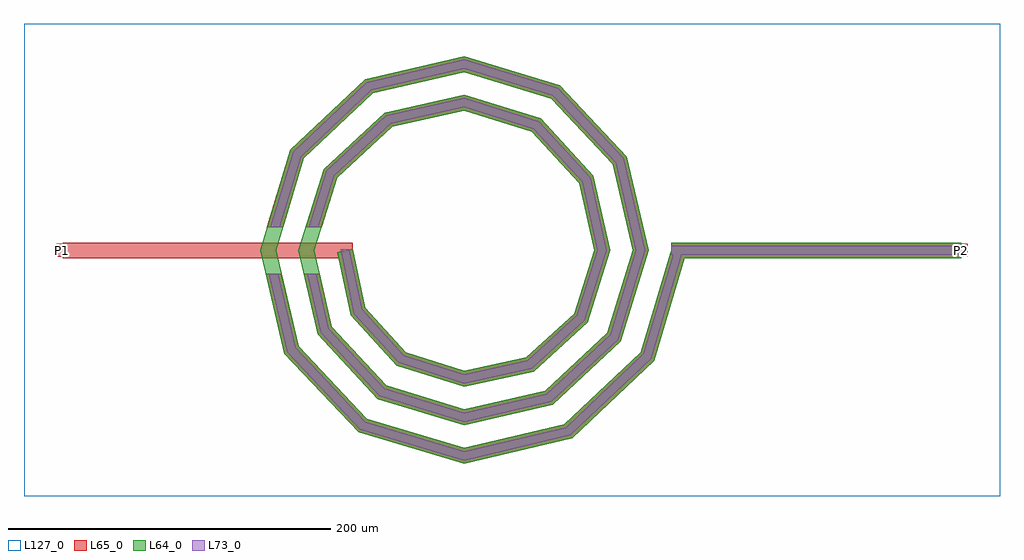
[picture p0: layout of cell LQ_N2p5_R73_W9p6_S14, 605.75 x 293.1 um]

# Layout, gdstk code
import gdstk
lib = gdstk.Library(unit=1e-6, precision=1e-09)
def R(c, l, rs):  # rectangles x0, y0, x1, y1
    for r in rs: c.add(gdstk.rectangle(r[:2], r[2:], *l))
def P(c, l, *ps):  # polygons
    for p in ps: c.add(gdstk.Polygon(p, *l))
L64_0 = (64, 0)
L65_0 = (65, 0)
L73_0 = (73, 0)
L127_0 = (127, 0)

lq_n2p5_r73_w9p6_s14 = lib.new_cell('LQ_N2p5_R73_W9p6_S14')
R(lq_n2p5_r73_w9p6_s14, L64_0, [(128.715,-4.8,308.716,4.8)])
P(lq_n2p5_r73_w9p6_s14, L64_0, [(-61.248,-35.642),(-36.221,-63.21),(0.231,-74.841),(38.61,-66.424),(68.369,-39.219),(80.808,0.215),(71.6,41.581),(42.215,73.53),(0.201,86.776),(-44.553,76.774),(-78.691,45.21),(-92.743,0.189),(-81.948,-47.526),(-48.204,-83.854),(0.178,-98.71),(50.501,-87.121),(89.017,-51.196),(104.678,0.168),(92.294,53.476),(54.187,94.18),(0.159,110.645),(-56.453,97.466),(-99.344,57.178),(-116.613,0.152),(-102.638,-59.43),(-60.168,-104.508),(0.145,-122.58),(62.408,-107.809),(109.673,-63.158),(128.916,1.372),(138.115,-1.372),(118.137,-68.368),(67.129,-116.556),(0.145,-132.515),(-65.39,-112.965),(-111.391,-64.139),(-126.547,0.152),(-107.793,62.413),(-61.149,106.226),(0.159,120.579),(59.436,102.621),(101.062,58.157),(114.611,0.168),(97.448,-56.459),(55.165,-95.898),(0.178,-108.643),(-53.484,-92.274),(-90.735,-52.172),(-102.675,0.189),(-87.1,50.51),(-49.178,85.572),(0.201,96.707),(47.537,81.925),(80.41,46.182),(90.739,0.215),(76.749,-44.565),(43.185,-75.249),(0.231,-84.771),(-41.596,-71.572),(-70.089,-40.185),(-78.53,-1.011),(-69.146,1.011)])
R(lq_n2p5_r73_w9p6_s14, L65_0, [(-249.038,-4.8,-69.038,4.8), (128.715,-4.8,308.716,4.8), (-253.038,-4,-245.038,4), (304.716,-4,312.716,4)])
P(lq_n2p5_r73_w9p6_s14, L65_0, [(-102.638,-59.43),(-60.168,-104.508),(0.145,-122.58),(62.408,-107.809),(109.673,-63.158),(128.916,1.372),(138.115,-1.372),(118.137,-68.368),(67.129,-116.556),(0.145,-132.515),(-65.39,-112.965),(-111.391,-64.139),(-123.117,-14.4),(-113.254,-14.4)],
  [(-81.948,-47.526),(-48.204,-83.854),(0.178,-98.71),(50.501,-87.121),(89.017,-51.196),(104.678,0.168),(92.294,53.477),(54.188,94.18),(0.16,110.645),(-56.453,97.466),(-99.344,57.178),(-112.23,14.4),(-122.256,14.4),(-107.793,62.413),(-61.149,106.226),(0.16,120.58),(59.436,102.621),(101.062,58.157),(114.612,0.168),(97.448,-56.459),(55.165,-95.898),(0.178,-108.643),(-53.484,-92.275),(-90.735,-52.172),(-99.349,-14.4),(-89.502,-14.4)],
  [(-36.221,-63.21),(0.231,-74.841),(38.61,-66.424),(68.369,-39.219),(80.808,0.215),(71.6,41.581),(42.215,73.53),(0.201,86.776),(-44.553,76.774),(-78.691,45.21),(-88.228,14.4),(-98.277,14.4),(-87.1,50.51),(-49.178,85.572),(0.201,96.707),(47.537,81.925),(80.41,46.182),(90.739,0.215),(76.749,-44.565),(43.185,-75.249),(0.231,-84.771),(-41.596,-71.572),(-70.089,-40.185),(-78.53,-1.011),(-69.146,1.011),(-61.248,-35.642)])
R(lq_n2p5_r73_w9p6_s14, L73_0, [(128.715,-2.8,308.716,2.8)])
P(lq_n2p5_r73_w9p6_s14, L73_0, [(-104.461,-60.411),(-61.256,-106.27),(0.084,-124.65),(63.392,-109.631),(111.436,-64.243),(130.832,0.8),(136.199,0.8),(116.374,-67.283),(66.146,-114.733),(0.084,-130.446),(-64.302,-111.204),(-109.567,-63.158),(-121.062,-14.4),(-115.309,-14.4)],
  [(-83.778,-48.494),(-49.304,-85.608),(0.104,-100.78),(51.473,-88.95),(90.773,-52.293),(106.747,0.098),(94.12,54.452),(55.281,95.939),(0.093,112.715),(-57.431,99.291),(-101.104,58.269),(-114.318,14.4),(-120.167,14.4),(-106.033,61.322),(-60.17,104.401),(0.093,118.51),(58.342,100.862),(99.235,57.182),(112.542,0.098),(95.691,-55.363),(54.194,-94.07),(0.104,-106.574),(-52.384,-90.52),(-88.904,-51.204),(-97.297,-14.4),(-91.553,-14.4)],
  [(-37.341,-64.952),(0.135,-76.91),(39.563,-68.263),(70.115,-40.333),(82.877,0.125),(73.435,42.539),(43.324,75.279),(0.117,88.845),(-45.516,78.607),(-80.443,46.314),(-90.321,14.4),(-96.183,14.4),(-85.348,49.406),(-48.214,83.739),(0.117,94.638),(46.428,80.176),(78.575,45.224),(88.67,0.125),(75.004,-43.452),(42.232,-73.411),(0.135,-82.702),(-40.476,-69.83),(-68.247,-39.239),(-76.575,0.59),(-71.101,0.59),(-63.09,-36.589)])
R(lq_n2p5_r73_w9p6_s14, L127_0, [(-273.038,-152.515,332.716,140.58)])
lq_n2p5_r73_w9p6_s14.add(gdstk.Label('P2', (308.716,0), layer=65, texttype=0))
lq_n2p5_r73_w9p6_s14.add(gdstk.Label('P1', (-249.038,0), layer=65, texttype=0))
lq_n2p5_r73_w9p6_s14.add(gdstk.Label('P2', (312.716,0), layer=145, texttype=0))
lq_n2p5_r73_w9p6_s14.add(gdstk.Label('P1', (-253.038,0), layer=145, texttype=0))

lib.write_gds('LQ_N2p5_R73_W9p6_S14.gds')
